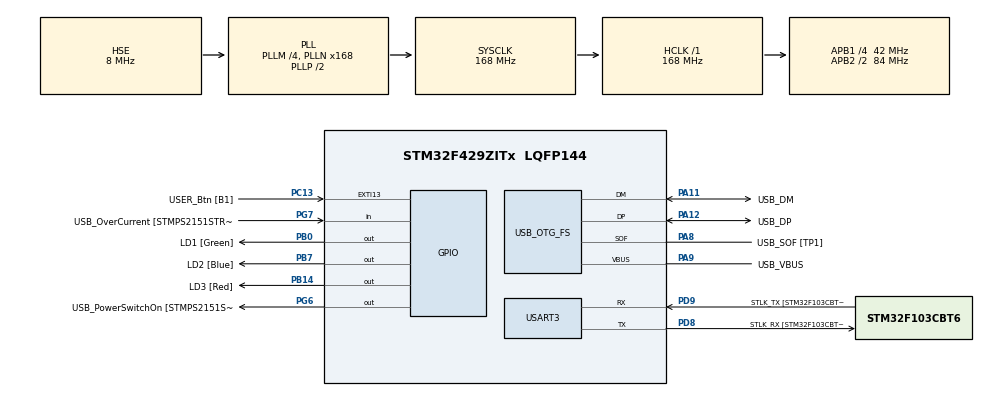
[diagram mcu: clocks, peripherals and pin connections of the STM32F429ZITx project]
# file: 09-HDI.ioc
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Mcu.Family=STM32F4
Mcu.Name=STM32F429ZITx
Mcu.Package=LQFP144
NVIC.OTG_FS_IRQn=true\:0\:0\:false\:false\:true\:false\:true\:true
NVIC.PriorityGroup=NVIC_PRIORITYGROUP_4
PA1.GPIO_Label=RMII_REF_CLK [LAN8742A-CZ-TR_REFCLK0]
PA1.Signal=ETH_REF_CLK
PA10.GPIO_Label=USB_ID
PA10.Signal=USB_OTG_FS_ID
PA11.GPIO_Label=USB_DM
PA11.Mode=Device_Only
PA11.Signal=USB_OTG_FS_DM
PA12.GPIO_Label=USB_DP
PA12.Mode=Device_Only
PA12.Signal=USB_OTG_FS_DP
PA13.GPIO_Label=TMS
PA13.Mode=Serial_Wire
PA13.Signal=SYS_JTMS-SWDIO
PA14.GPIO_Label=TCK
PA14.Mode=Serial_Wire
PA14.Signal=SYS_JTCK-SWCLK
PA2.GPIO_Label=RMII_MDIO [LAN8742A-CZ-TR_MDIO]
PA2.Signal=ETH_MDIO
PA7.GPIO_Label=RMII_CRS_DV [LAN8742A-CZ-TR_CRS_DV]
PA7.Signal=ETH_CRS_DV
PA8.GPIO_Label=USB_SOF [TP1]
PA8.Mode=Activate_SOF_FS
PA8.Signal=USB_OTG_FS_SOF
PA9.GPIO_Label=USB_VBUS
PA9.Mode=Activate_VBUS
PA9.Signal=USB_OTG_FS_VBUS
PB0.GPIO_Label=LD1 [Green]
PB0.Signal=GPIO_Output
PB13.GPIO_Label=RMII_TXD1 [LAN8742A-CZ-TR_TXD1]
PB13.Signal=ETH_TXD1
PB14.GPIO_Label=LD3 [Red]
PB14.Signal=GPIO_Output
PB7.GPIO_Label=LD2 [Blue]
PB7.Signal=GPIO_Output
PC1.GPIO_Label=RMII_MDC [LAN8742A-CZ-TR_MDC]
PC1.Signal=ETH_MDC
PC13.GPIO_Label=USER_Btn [B1]
PC13.Signal=GPXTI13
PC14/OSC32_IN.Mode=LSE-External-Oscillator
PC14/OSC32_IN.Signal=RCC_OSC32_IN
PC15/OSC32_OUT.Mode=LSE-External-Oscillator
PC15/OSC32_OUT.Signal=RCC_OSC32_OUT
PC4.GPIO_Label=RMII_RXD0 [LAN8742A-CZ-TR_RXD0]
PC4.Signal=ETH_RXD0
PC5.GPIO_Label=RMII_RXD1 [LAN8742A-CZ-TR_RXD1]
PC5.Signal=ETH_RXD1
PD8.GPIO_Label=STLK_RX [STM32F103CBT6_PA3]
PD8.Mode=Asynchronous
PD8.Signal=USART3_TX
PD9.GPIO_Label=STLK_TX [STM32F103CBT6_PA2]
PD9.Mode=Asynchronous
PD9.Signal=USART3_RX
PG11.GPIO_Label=RMII_TX_EN [LAN8742A-CZ-TR_TXEN]
PG11.Signal=ETH_TX_EN
PG13.GPIO_Label=RMII_TXD0 [LAN8742A-CZ-TR_TXD0]
PG13.Signal=ETH_TXD0
PG6.GPIO_Label=USB_PowerSwitchOn [STMPS2151STR_EN]
PG6.Signal=GPIO_Output
PG7.GPIO_Label=USB_OverCurrent [STMPS2151STR_FAULT]
PG7.Signal=GPIO_Input
PH0/OSC_IN.GPIO_Label=MCO [STM32F103CBT6_PA8]
PH0/OSC_IN.Mode=HSE-External-Clock-Source
PH0/OSC_IN.Signal=RCC_OSC_IN
PH1/OSC_OUT.Mode=HSE-External-Clock-Source
PH1/OSC_OUT.Signal=RCC_OSC_OUT
ProjectManager.HeapSize=0x200
ProjectManager.StackSize=0x400
ProjectManager.TargetToolchain=STM32CubeIDE
RCC.48MHZClocksFreq_Value=48000000
RCC.AHBFreq_Value=168000000
RCC.APB1CLKDivider=RCC_HCLK_DIV4
RCC.APB1Freq_Value=42000000
RCC.APB1TimFreq_Value=84000000
RCC.APB2CLKDivider=RCC_HCLK_DIV2
RCC.APB2Freq_Value=84000000
RCC.APB2TimCLKDivider=2
RCC.APB2TimFreq_Value=168000000
RCC.CortexFreq_Value=168000000
RCC.HCLKFreq_Value=168000000
RCC.HSE_VALUE=8000000
RCC.HSI_VALUE=16000000
RCC.PLLM=4
RCC.PLLMUL=RCC_PLL_MUL9
RCC.PLLN=168
RCC.PLLQ=7
RCC.PRESCALERUSB=RCC_USBCLKSOURCE_PLL_DIV1_5
RCC.SYSCLKFreq_VALUE=168000000
RCC.SYSCLKSource=RCC_SYSCLKSOURCE_PLLCLK
RCC.SYSCLKSourceVirtual=RCC_SYSCLKSOURCE_PLLCLK
RCC.USBFreq_Value=48000000
RCC.VCOOutputFreq_Value=336000000
USART3.VirtualMode=VM_ASYNC
USB_DEVICE.CLASS_NAME_FS=HID
USB_DEVICE.VirtualMode-HID_FS=Hid
USB_DEVICE.VirtualModeFS=Hid_FS
USB_OTG_FS.VirtualMode=Device_Only
VP_USB_DEVICE_VS_USB_DEVICE_HID_FS.Mode=HID_FS
board=NUCLEO-F429ZI

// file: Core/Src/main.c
/* USER CODE BEGIN Header */
/**
  ******************************************************************************
  * @file           : main.c
  * @brief          : Main program body
  ******************************************************************************
  * @attention
  *
  * Copyright (c) 2024 STMicroelectronics.
  * All rights reserved.
  *
  * This software is licensed under terms that can be found in the LICENSE file
  * in the root directory of this software component.
  * If no LICENSE file comes with this software, it is provided AS-IS.
  *
  ******************************************************************************
  */
/* USER CODE END Header */
#include "main.h"
#include "usb_device.h"

/* USER CODE BEGIN Includes */
#include "usbd_hid.h"
#include <stdio.h>
#include <math.h>
/* USER CODE END Includes */

UART_HandleTypeDef huart3;

/* USER CODE BEGIN PV */
extern USBD_HandleTypeDef hUsbDeviceFS;
/* USER CODE END PV */

void SystemClock_Config(void);
static void MX_GPIO_Init(void);
static void MX_USART3_UART_Init(void);

/* USER CODE BEGIN 0 */
static void step(int8_t x, int8_t y, int8_t btn){
	uint8_t buff[4];
	buff[0] = btn; // press the left button
	buff[1] = x; // shift X +10
	buff[2] = y; // shift Y -3
	buff[3] = 0; // no scroll
	USBD_HID_SendReport(&hUsbDeviceFS, buff, sizeof(buff));
	HAL_Delay(USBD_HID_GetPollingInterval(&hUsbDeviceFS));
}

static void circ(int8_t r){
	int8_t sx = 0;
	int8_t sy = 0;

	for (float phi = 0; phi < (2*M_PI); phi = phi+0.01) {
		float x = r * cosf(phi);
		float y = r * sinf(phi);

		int8_t dx = x - sx;
		int8_t dy = y - sy;

		step(dx,dy,1);

		sx += dx;
		sy += dy;

	}
}
/* USER CODE END 0 */

int main(void)
{

  /* MCU Configuration--------------------------------------------------------*/

  /* Reset of all peripherals, Initializes the Flash interface and the Systick. */
  HAL_Init();

  /* Configure the system clock */
  SystemClock_Config();

  /* Initialize all configured peripherals */
  MX_GPIO_Init();
  MX_USART3_UART_Init();
  MX_USB_DEVICE_Init();

  /* Infinite loop */
  /* USER CODE BEGIN WHILE */
  while (1)
  {
	  if (HAL_GPIO_ReadPin(USER_Btn_GPIO_Port, USER_Btn_Pin)) {

		  circ(120);
		  step(0, 0, 0);

		  step(-47, -10, 1);
		  step(0, 20, 0);

		  step(-25, -25, 0);
		  circ(20);
		  step(0, 0, 0);

		  step(25, 0, 0);
		  circ(20);
		  step(0, 0, 0);

		  step(-70,-47, 0);

		  int8_t sx = 0;
		  int8_t sy = 0;
		  for (float phi = 0.9; phi < 2.3; phi = phi + 0.1)
		  {
			  uint8_t r = 75;
			  float x = r * cosf(phi);
			  float y = r * sinf(phi);

			  int8_t dx = x - sx;
			  int8_t dy = y - sy;

			  step(dx, dy, 1);

			  sx += dx;
			  sy += dy;
		  }

		  step(54, 0, 0);
		  step(0, 0, 0);
		  step(100, 0, 0);

		  HAL_Delay(1000);

	  }

	  /* USER CODE END WHILE */

  }
}

void SystemClock_Config(void)
{
  RCC_OscInitTypeDef RCC_OscInitStruct = {0};
  RCC_ClkInitTypeDef RCC_ClkInitStruct = {0};

  /** Configure the main internal regulator output voltage
  */
  __HAL_RCC_PWR_CLK_ENABLE();
  __HAL_PWR_VOLTAGESCALING_CONFIG(PWR_REGULATOR_VOLTAGE_SCALE1);

  /** Initializes the RCC Oscillators according to the specified parameters
  * in the RCC_OscInitTypeDef structure.
  */
  RCC_OscInitStruct.OscillatorType = RCC_OSCILLATORTYPE_HSE;
  RCC_OscInitStruct.HSEState = RCC_HSE_BYPASS;
  RCC_OscInitStruct.PLL.PLLState = RCC_PLL_ON;
  RCC_OscInitStruct.PLL.PLLSource = RCC_PLLSOURCE_HSE;
  RCC_OscInitStruct.PLL.PLLM = 4;
  RCC_OscInitStruct.PLL.PLLN = 168;
  RCC_OscInitStruct.PLL.PLLP = RCC_PLLP_DIV2;
  RCC_OscInitStruct.PLL.PLLQ = 7;
  if (HAL_RCC_OscConfig(&RCC_OscInitStruct) != HAL_OK)
  {
    Error_Handler();
  }

  /** Initializes the CPU, AHB and APB buses clocks
  */
  RCC_ClkInitStruct.ClockType = RCC_CLOCKTYPE_HCLK|RCC_CLOCKTYPE_SYSCLK
                              |RCC_CLOCKTYPE_PCLK1|RCC_CLOCKTYPE_PCLK2;
  RCC_ClkInitStruct.SYSCLKSource = RCC_SYSCLKSOURCE_PLLCLK;
  RCC_ClkInitStruct.AHBCLKDivider = RCC_SYSCLK_DIV1;
  RCC_ClkInitStruct.APB1CLKDivider = RCC_HCLK_DIV4;
  RCC_ClkInitStruct.APB2CLKDivider = RCC_HCLK_DIV2;

  if (HAL_RCC_ClockConfig(&RCC_ClkInitStruct, FLASH_LATENCY_5) != HAL_OK)
  {
    Error_Handler();
  }
}

static void MX_USART3_UART_Init(void)
{

  huart3.Instance = USART3;
  huart3.Init.BaudRate = 115200;
  huart3.Init.WordLength = UART_WORDLENGTH_8B;
  huart3.Init.StopBits = UART_STOPBITS_1;
  huart3.Init.Parity = UART_PARITY_NONE;
  huart3.Init.Mode = UART_MODE_TX_RX;
  huart3.Init.HwFlowCtl = UART_HWCONTROL_NONE;
  huart3.Init.OverSampling = UART_OVERSAMPLING_16;
  if (HAL_UART_Init(&huart3) != HAL_OK)
  {
    Error_Handler();
  }

}

static void MX_GPIO_Init(void)
{
  GPIO_InitTypeDef GPIO_InitStruct = {0};

  /* GPIO Ports Clock Enable */
  __HAL_RCC_GPIOC_CLK_ENABLE();
  __HAL_RCC_GPIOH_CLK_ENABLE();
  __HAL_RCC_GPIOA_CLK_ENABLE();
  __HAL_RCC_GPIOB_CLK_ENABLE();
  __HAL_RCC_GPIOD_CLK_ENABLE();
  __HAL_RCC_GPIOG_CLK_ENABLE();

  /*Configure GPIO pin Output Level */
  HAL_GPIO_WritePin(GPIOB, LD1_Pin|LD3_Pin|LD2_Pin, GPIO_PIN_RESET);

  /*Configure GPIO pin Output Level */
  HAL_GPIO_WritePin(USB_PowerSwitchOn_GPIO_Port, USB_PowerSwitchOn_Pin, GPIO_PIN_RESET);

  /*Configure GPIO pin : USER_Btn_Pin */
  GPIO_InitStruct.Pin = USER_Btn_Pin;
  GPIO_InitStruct.Mode = GPIO_MODE_IT_RISING;
  GPIO_InitStruct.Pull = GPIO_NOPULL;
  HAL_GPIO_Init(USER_Btn_GPIO_Port, &GPIO_InitStruct);

  /*Configure GPIO pins : RMII_MDC_Pin RMII_RXD0_Pin RMII_RXD1_Pin */
  GPIO_InitStruct.Pin = RMII_MDC_Pin|RMII_RXD0_Pin|RMII_RXD1_Pin;
  GPIO_InitStruct.Mode = GPIO_MODE_AF_PP;
  GPIO_InitStruct.Pull = GPIO_NOPULL;
  GPIO_InitStruct.Speed = GPIO_SPEED_FREQ_VERY_HIGH;
  GPIO_InitStruct.Alternate = GPIO_AF11_ETH;
  HAL_GPIO_Init(GPIOC, &GPIO_InitStruct);

  /*Configure GPIO pins : RMII_REF_CLK_Pin RMII_MDIO_Pin RMII_CRS_DV_Pin */
  GPIO_InitStruct.Pin = RMII_REF_CLK_Pin|RMII_MDIO_Pin|RMII_CRS_DV_Pin;
  GPIO_InitStruct.Mode = GPIO_MODE_AF_PP;
  GPIO_InitStruct.Pull = GPIO_NOPULL;
  GPIO_InitStruct.Speed = GPIO_SPEED_FREQ_VERY_HIGH;
  GPIO_InitStruct.Alternate = GPIO_AF11_ETH;
  HAL_GPIO_Init(GPIOA, &GPIO_InitStruct);

  /*Configure GPIO pins : LD1_Pin LD3_Pin LD2_Pin */
  GPIO_InitStruct.Pin = LD1_Pin|LD3_Pin|LD2_Pin;
  GPIO_InitStruct.Mode = GPIO_MODE_OUTPUT_PP;
  GPIO_InitStruct.Pull = GPIO_NOPULL;
  GPIO_InitStruct.Speed = GPIO_SPEED_FREQ_LOW;
  HAL_GPIO_Init(GPIOB, &GPIO_InitStruct);

  /*Configure GPIO pin : RMII_TXD1_Pin */
  GPIO_InitStruct.Pin = RMII_TXD1_Pin;
  GPIO_InitStruct.Mode = GPIO_MODE_AF_PP;
  GPIO_InitStruct.Pull = GPIO_NOPULL;
  GPIO_InitStruct.Speed = GPIO_SPEED_FREQ_VERY_HIGH;
  GPIO_InitStruct.Alternate = GPIO_AF11_ETH;
  HAL_GPIO_Init(RMII_TXD1_GPIO_Port, &GPIO_InitStruct);

  /*Configure GPIO pin : USB_PowerSwitchOn_Pin */
  GPIO_InitStruct.Pin = USB_PowerSwitchOn_Pin;
  GPIO_InitStruct.Mode = GPIO_MODE_OUTPUT_PP;
  GPIO_InitStruct.Pull = GPIO_NOPULL;
  GPIO_InitStruct.Speed = GPIO_SPEED_FREQ_LOW;
  HAL_GPIO_Init(USB_PowerSwitchOn_GPIO_Port, &GPIO_InitStruct);

  /*Configure GPIO pin : USB_OverCurrent_Pin */
  GPIO_InitStruct.Pin = USB_OverCurrent_Pin;
  GPIO_InitStruct.Mode = GPIO_MODE_INPUT;
  GPIO_InitStruct.Pull = GPIO_NOPULL;
  HAL_GPIO_Init(USB_OverCurrent_GPIO_Port, &GPIO_InitStruct);

  /*Configure GPIO pins : RMII_TX_EN_Pin RMII_TXD0_Pin */
  GPIO_InitStruct.Pin = RMII_TX_EN_Pin|RMII_TXD0_Pin;
  GPIO_InitStruct.Mode = GPIO_MODE_AF_PP;
  GPIO_InitStruct.Pull = GPIO_NOPULL;
  GPIO_InitStruct.Speed = GPIO_SPEED_FREQ_VERY_HIGH;
  GPIO_InitStruct.Alternate = GPIO_AF11_ETH;
  HAL_GPIO_Init(GPIOG, &GPIO_InitStruct);

}

void Error_Handler(void)
{
  __disable_irq();
  while (1)
  {
  }
}
